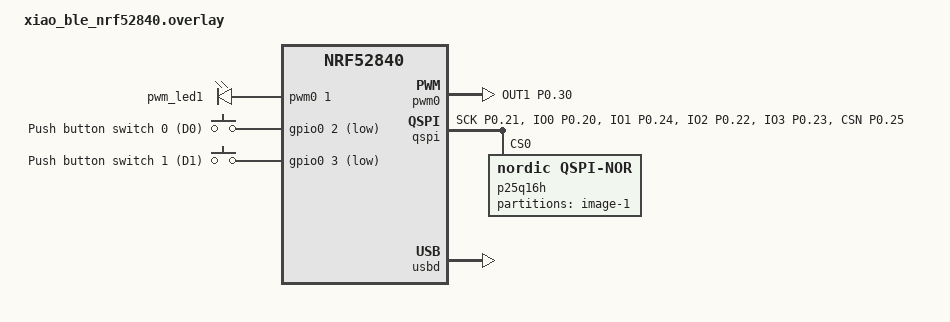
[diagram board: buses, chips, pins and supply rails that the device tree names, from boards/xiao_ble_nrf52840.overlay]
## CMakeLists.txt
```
#
# Copyright (c) 2021 Nordic Semiconductor ASA
#
# SPDX-License-Identifier: LicenseRef-Nordic-5-Clause
#

cmake_minimum_required(VERSION 3.20.0)

find_package(Zephyr HINTS $ENV{ZEPHYR_BASE})

project(seeed_matter_ota_demo)

# Enable GNU STD support.
include(${ZEPHYR_CONNECTEDHOMEIP_MODULE_DIR}/config/nrfconnect/app/enable-gnu-std.cmake)

# NORDIC SDK APP START

# Include all source files that are located in the Matter common directory.
include(${ZEPHYR_NRF_MODULE_DIR}/samples/matter/common/cmake/source_common.cmake)

# Include Data Model utils
include(${ZEPHYR_NRF_MODULE_DIR}/samples/matter/common/cmake/data_model.cmake)

include(${ZEPHYR_NRF_MODULE_DIR}/samples/matter/common/cmake/zap_helpers.cmake)
ncs_get_zap_parent_dir(ZAP_PARENT_DIR)

target_include_directories(app PRIVATE
  src
  ${ZAP_PARENT_DIR}
)



target_sources(app PRIVATE
  src/app_task.cpp
  src/main.cpp
  src/zcl_callbacks.cpp
  ${CHIP_ROOT}/src/app/persistence/DeferredAttributePersistenceProvider.cpp
)

# FIXED: Explicitly pass target and generated JSON configuration file paths
ncs_configure_data_model(TARGET matter-data-model CONFIG_FILE ${CMAKE_CURRENT_SOURCE_DIR}/zap-generated/apps-configuration.json)
target_link_libraries(app PRIVATE matter-data-model)

# NORDIC SDK APP END
```

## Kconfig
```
#
# Copyright (c) 2022 Nordic Semiconductor
#
# SPDX-License-Identifier: LicenseRef-Nordic-5-Clause
#
mainmenu "Matter nRF Connect Light Bulb Example Application"

# Sample configuration used for Thread networking
if OPENTHREAD

choice OPENTHREAD_NORDIC_LIBRARY_CONFIGURATION
	default OPENTHREAD_NORDIC_LIBRARY_FTD
endchoice

choice OPENTHREAD_DEVICE_TYPE
	default OPENTHREAD_FTD
endchoice

endif # OPENTHREAD

config CHIP_WIFI
	default y if BOARD_NRF7002DK_NRF5340_CPUAPP || SHIELD_NRF7002EB2
	select DEPRECATED if SOC_SERIES_NRF53

config NFC
	bool "NFC support"
	default n

config CHIP_NFC_COMMISSIONING
	bool "Matter NFC commissioning"
	default n

config MATTER_NFC_COMMISSIONING
	bool "Matter NFC commissioning (renamed)"
	default n

config NFC_T2T_LIB
	bool "NFC Type 2 Tag library"
	default n

config NFCT_PINS_AS_GPIOS
	bool "NFC pins as GPIOs"
	default n

config CHIP_NFC_ONBOARDING_PAYLOAD
	bool "Chip NFC onboarding payload"
	default n

config NFC_T2T_NRFXLIB
	bool "NFC T2T NRFXLIB"
	default n

config NFC_NDEF
	bool "NFC NDEF"
	default n

config NFC_NDEF_MSG
	bool "NFC NDEF MSG"
	default n

config NFC_NDEF_RECORD
	bool "NFC NDEF RECORD"
	default n

config NFC_NDEF_URI_MSG
	bool "NFC NDEF URI MSG"
	default n

config NFC_NDEF_URI_REC
	bool "NFC NDEF URI REC"
	default n

source "$(ZEPHYR_CONNECTEDHOMEIP_MODULE_DIR)/config/nrfconnect/chip-module/Kconfig.features"
source "$(ZEPHYR_CONNECTEDHOMEIP_MODULE_DIR)/config/nrfconnect/chip-module/Kconfig.defaults"
source "$(ZEPHYR_NRF_MODULE_DIR)/samples/matter/common/src/Kconfig"
source "Kconfig.zephyr"
```

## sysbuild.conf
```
#
# Copyright (c) 2024 Nordic Semiconductor
#
# SPDX-License-Identifier: LicenseRef-Nordic-5-Clause
#

SB_CONFIG_MATTER=y
SB_CONFIG_BOOTLOADER_MCUBOOT=y
SB_CONFIG_MATTER_FACTORY_DATA_GENERATE=n
```

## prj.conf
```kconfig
#
# Copyright (c) 2022 Nordic Semiconductor ASA
#
# SPDX-License-Identifier: LicenseRef-Nordic-5-Clause
#

# Enable CHIP
CONFIG_CHIP=y
CONFIG_CHIP_PROJECT_CONFIG="src/chip_project_config.h"
# 32773 == 0x8005 (example lighting-app)
CONFIG_CHIP_DEVICE_PRODUCT_ID=32773
CONFIG_STD_CPP17=y

# Enable Matter pairing automatically on application start.
CONFIG_CHIP_ENABLE_PAIRING_AUTOSTART=y

# Enable Matter extended announcement and increase duration to 1 hour.
CONFIG_CHIP_BLE_EXT_ADVERTISING=y
CONFIG_CHIP_BLE_ADVERTISING_DURATION=60

# Add support for LEDs and buttons on Nordic development kits
CONFIG_DK_LIBRARY=y
CONFIG_PWM=y

# Bluetooth Low Energy configuration
CONFIG_BT_DEVICE_NAME="MatterLight"

# Other settings
CONFIG_THREAD_NAME=y
CONFIG_MPU_STACK_GUARD=y
CONFIG_RESET_ON_FATAL_ERROR=n
CONFIG_CHIP_LIB_SHELL=y
CONFIG_NCS_SAMPLE_MATTER_TEST_SHELL=y

# Reduce application size
CONFIG_USE_SEGGER_RTT=n

# Enable Factory Data feature
CONFIG_CHIP_FACTORY_DATA=y
CONFIG_CHIP_FACTORY_DATA_BUILD=y

CONFIG_MULTITHREADING=y

CONFIG_LSM6DSL=n
CONFIG_SENSOR=n

# led strip
CONFIG_LED_STRIP=y
CONFIG_LED_STRIP_LOG_LEVEL_DBG=y

# Enable Bootloader and DFU (Device Firmware Update)
CONFIG_BOOTLOADER_MCUBOOT=y
CONFIG_MCUMGR=y

# Enable Matter OTA Requestor Cluster
CONFIG_CHIP_OTA_REQUESTOR=y
```

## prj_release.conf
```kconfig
#
# Copyright (c) 2022 Nordic Semiconductor ASA
#
# SPDX-License-Identifier: LicenseRef-Nordic-5-Clause
#

# Enable CHIP
CONFIG_CHIP=y
CONFIG_CHIP_PROJECT_CONFIG="src/chip_project_config.h"
# 32773 == 0x8005 (example lighting-app)
CONFIG_CHIP_DEVICE_PRODUCT_ID=32773
CONFIG_STD_CPP17=y

# Enable Matter pairing automatically on application start.
CONFIG_CHIP_ENABLE_PAIRING_AUTOSTART=y

# Enable Matter extended announcement and increase duration to 1 hour.
CONFIG_CHIP_BLE_EXT_ADVERTISING=y
CONFIG_CHIP_BLE_ADVERTISING_DURATION=60

# Add support for LEDs and buttons on Nordic development kits
CONFIG_DK_LIBRARY=y
CONFIG_PWM=y

# Bluetooth Low Energy configuration
CONFIG_BT_DEVICE_NAME="MatterLight"

# Enable system reset on fatal error
CONFIG_RESET_ON_FATAL_ERROR=y

# Disable all debug features
CONFIG_USE_SEGGER_RTT=n
CONFIG_SHELL=n
CONFIG_OPENTHREAD_SHELL=n
CONFIG_CONSOLE=n
CONFIG_UART_CONSOLE=n
CONFIG_SERIAL=n
CONFIG_LOG=n
CONFIG_LOG_MODE_MINIMAL=n
CONFIG_ASSERT_VERBOSE=n
CONFIG_ASSERT_NO_FILE_INFO=y
CONFIG_PRINTK=n
CONFIG_PRINTK_SYNC=n
CONFIG_THREAD_NAME=n
CONFIG_BOOT_BANNER=n

# Enable Factory Data feature
CONFIG_CHIP_FACTORY_DATA=y
CONFIG_CHIP_FACTORY_DATA_BUILD=y

# Enable Watchdog
CONFIG_NCS_SAMPLE_MATTER_WATCHDOG=y

# Enable Bootloader and DFU (Device Firmware Update)
CONFIG_BOOTLOADER_MCUBOOT=y
CONFIG_MCUMGR=y

# Enable Matter OTA Requestor Cluster
CONFIG_CHIP_OTA_REQUESTOR=y
```

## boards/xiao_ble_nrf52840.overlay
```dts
/*
 * Copyright (c) 2024
 *
 * SPDX-License-Identifier: LicenseRef-Nordic-5-Clause
 */

/ {
        chosen {
                nordic,pm-ext-flash = &p25q16h;
                /* Map the system code partition to slot0 for MCUboot */
                zephyr,code-partition = &slot0_partition;
        };

        aliases {
                pwm-led1 = &pwm_led1;
                sw0 = &button0;
                sw1 = &button1;
        };

        pwmleds {
                compatible = "pwm-leds";
                pwm_led1: pwm_led_1 {
                        pwms = <&pwm0 1 PWM_MSEC(20) PWM_POLARITY_INVERTED>;
                };
        };

        buttons {
                compatible = "gpio-keys";
                button0: button_0 {
                        gpios = <&gpio0 2 (GPIO_PULL_UP | GPIO_ACTIVE_LOW)>;
                        label = "Push button switch 0 (D0)";
                };
                button1: button_1 {
                        gpios = <&gpio0 3 (GPIO_PULL_UP | GPIO_ACTIVE_LOW)>;
                        label = "Push button switch 1 (D1)";
                };
        };
};

&flash0 {
        /delete-node/ partitions;
        partitions {
                compatible = "fixed-partitions";
                #address-cells = <1>;
                #size-cells = <1>;

                boot_partition: partition@0 {
                        label = "mcuboot";
                        reg = <0x00000000 0x0000c000>;
                };
                slot0_partition: partition@c000 {
                        label = "image-0";
                        reg = <0x0000c000 0x000e8000>;
                };
                storage_partition: partition@f4000 {
                        label = "storage";
                        reg = <0x000f4000 0x0000c000>;
                };
        };
};

&pwm0 {
        status = "okay";
        pinctrl-0 = <&pwm0_default_alt>;
        pinctrl-1 = <&pwm0_sleep_alt>;
        pinctrl-names = "default", "sleep";
};

&pinctrl {
        pwm0_default_alt: pwm0_default_alt {
                group1 {
                        psels = <NRF_PSEL(PWM_OUT1, 0, 30)>;
                        nordic,invert;
                };
        };

        pwm0_sleep_alt: pwm0_sleep_alt {
                group1 {
                        psels = <NRF_PSEL(PWM_OUT1, 0, 30)>;
                        low-power-enable;
                };
        };

        qspi_default: qspi_default {
                group1 {
                        psels = <NRF_PSEL(QSPI_SCK, 0, 21)>,
                                <NRF_PSEL(QSPI_IO0, 0, 20)>,
                                <NRF_PSEL(QSPI_IO1, 0, 24)>,
                                <NRF_PSEL(QSPI_IO2, 0, 22)>,
                                <NRF_PSEL(QSPI_IO3, 0, 23)>,
                                <NRF_PSEL(QSPI_CSN, 0, 25)>;
                };
        };

        qspi_sleep: qspi_sleep {
                group1 {
                        psels = <NRF_PSEL(QSPI_SCK, 0, 21)>,
                                <NRF_PSEL(QSPI_IO0, 0, 20)>,
                                <NRF_PSEL(QSPI_IO1, 0, 24)>,
                                <NRF_PSEL(QSPI_IO2, 0, 22)>,
                                <NRF_PSEL(QSPI_IO3, 0, 23)>,
                                <NRF_PSEL(QSPI_CSN, 0, 25)>;
                        low-power-enable;
                };
        };
};

&qspi {
        status = "okay";
        pinctrl-0 = <&qspi_default>;
        pinctrl-1 = <&qspi_sleep>;
        pinctrl-names = "default", "sleep";

        p25q16h: p25q16h@0 {
                compatible = "nordic,qspi-nor";
                reg = <0>;
                sck-frequency = <32000000>;
                jedec-id = [85 60 15];
                size = <2097152>; /* 2MB in bytes */
                has-dpd;
                t-enter-dpd = <3000>;
                t-exit-dpd = <8000>;
                quad-enable-requirements = "S2B1v1";

                partitions {
                        compatible = "fixed-partitions";
                        #address-cells = <1>;
                        #size-cells = <1>;

                        slot1_partition: partition@0 {
                                label = "image-1";
                                reg = <0x00000000 0x000e8000>;
                        };
                };
        };
};

/* Disable unused peripherals to reduce power consumption */
&adc {
        status = "disabled";
};

&uart1 {
        status = "disabled";
};

&i2c0 {
        status = "disabled";
};

&spi1 {
        status = "disabled";
};

&spi3 {
        status = "disabled";
};

&usbd {
        status = "okay"; /* Kept active for serial CDC logging */
};

&nfct {
        status = "disabled";
};
```

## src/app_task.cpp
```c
/*
 * Copyright (c) 2021 Nordic Semiconductor ASA
 *
 * SPDX-License-Identifier: LicenseRef-Nordic-5-Clause
 */

#include "app_task.h"



#include "app/matter_init.h"
#include "app/task_executor.h"

#if defined(CONFIG_PWM)
#include "pwm/pwm_device.h"
#endif

#include "clusters/identify.h"

#include <app-common/zap-generated/attributes/Accessors.h>
#include <app/persistence/AttributePersistenceProviderInstance.h>
#include <app/persistence/DefaultAttributePersistenceProvider.h>
#include <app/persistence/DeferredAttributePersistenceProvider.h>
#include <app/server/Server.h>
#include <setup_payload/OnboardingCodesUtil.h>

#include <zephyr/logging/log.h>

LOG_MODULE_DECLARE(app, CONFIG_CHIP_APP_LOG_LEVEL);

using namespace ::chip;
using namespace ::chip::app;
using namespace ::chip::DeviceLayer;

namespace
{
constexpr EndpointId kLightEndpointId = 1;
constexpr uint8_t kDefaultMinLevel = 0;
constexpr uint8_t kDefaultMaxLevel = 254;

Nrf::Matter::IdentifyCluster sIdentifyCluster(kLightEndpointId, true, []() {
	Nrf::PostTask([] { Nrf::GetBoard().GetLED(Nrf::DeviceLeds::LED2).Set(false); });
#if defined(CONFIG_PWM)
	Nrf::PostTask([] { AppTask::Instance().GetPWMDevice().ApplyLevel(); });
#endif
});

#if defined(CONFIG_PWM)
const struct pwm_dt_spec sLightPwmDevice = PWM_DT_SPEC_GET(DT_ALIAS(pwm_led1));
#endif

/* Define a custom attribute persister which makes actual write of the CurrentLevel attribute value
 * to the non-volatile storage only when it has remained constant for 5 seconds. This is to reduce
 * the flash wearout when the attribute changes frequently as a result of MoveToLevel command.
 * DeferredAttribute object describes a deferred attribute, but also holds a buffer with a value to
 * be written, so it must live so long as the DeferredAttributePersistenceProvider object.
 */
DeferredAttribute gCurrentLevelPersister(ConcreteAttributePath(kLightEndpointId, Clusters::LevelControl::Id,
							       Clusters::LevelControl::Attributes::CurrentLevel::Id));

/* Deferred persistence will be auto-initialized as soon as the default persistence is initialized */
DefaultAttributePersistenceProvider gSimpleAttributePersistence;
DeferredAttributePersistenceProvider gDeferredAttributePersister(gSimpleAttributePersistence,
								 Span<DeferredAttribute>(&gCurrentLevelPersister, 1),
								 System::Clock::Milliseconds32(5000));

#define APPLICATION_BUTTON_MASK DK_BTN2_MSK
} /* namespace */

void AppTask::LightingActionEventHandler(const LightingEvent &event)
{
#if defined(CONFIG_PWM)
	Nrf::PWMDevice::Action_t action = Nrf::PWMDevice::INVALID_ACTION;
	int32_t actor = 0;
	if (event.Actor == LightingActor::Button) {
		action = Instance().mPWMDevice.IsTurnedOn() ? Nrf::PWMDevice::OFF_ACTION : Nrf::PWMDevice::ON_ACTION;
		actor = static_cast<int32_t>(event.Actor);
	}

	if (action == Nrf::PWMDevice::INVALID_ACTION || !Instance().mPWMDevice.InitiateAction(action, actor, NULL)) {
		LOG_INF("An action could not be initiated.");
	}
#else
	Nrf::GetBoard().GetLED(Nrf::DeviceLeds::LED2).Set(!Nrf::GetBoard().GetLED(Nrf::DeviceLeds::LED2).GetState());
#endif
}

void AppTask::ButtonEventHandler(Nrf::ButtonState state, Nrf::ButtonMask hasChanged)
{
	if ((APPLICATION_BUTTON_MASK & hasChanged) & state) {
		Nrf::PostTask([] {
			LightingEvent event;
			event.Actor = LightingActor::Button;
			LightingActionEventHandler(event);
		});
	}
}



#if defined(CONFIG_PWM)
void AppTask::ActionInitiated(Nrf::PWMDevice::Action_t action, int32_t actor)
{
	if (action == Nrf::PWMDevice::ON_ACTION) {
		LOG_INF("Turn On Action has been initiated");
	} else if (action == Nrf::PWMDevice::OFF_ACTION) {
		LOG_INF("Turn Off Action has been initiated");
	} else if (action == Nrf::PWMDevice::LEVEL_ACTION) {
		LOG_INF("Level Action has been initiated");
	}
}

void AppTask::ActionCompleted(Nrf::PWMDevice::Action_t action, int32_t actor)
{
	if (action == Nrf::PWMDevice::ON_ACTION) {
		LOG_INF("Turn On Action has been completed");
	} else if (action == Nrf::PWMDevice::OFF_ACTION) {
		LOG_INF("Turn Off Action has been completed");
	} else if (action == Nrf::PWMDevice::LEVEL_ACTION) {
		LOG_INF("Level Action has been completed");
	}

	if (actor == static_cast<int32_t>(LightingActor::Button)) {
		Instance().UpdateClusterState();
	}
}
#endif /* CONFIG_PWM */

void AppTask::UpdateClusterState()
{
	SystemLayer().ScheduleLambda([this] {
#if defined(CONFIG_PWM)
		/* write the new on/off value */
		Protocols::InteractionModel::Status status =
			Clusters::OnOff::Attributes::OnOff::Set(kLightEndpointId, mPWMDevice.IsTurnedOn());
#else
		Protocols::InteractionModel::Status status = Clusters::OnOff::Attributes::OnOff::Set(
			kLightEndpointId, Nrf::GetBoard().GetLED(Nrf::DeviceLeds::LED2).GetState());
#endif
		if (status != Protocols::InteractionModel::Status::Success) {
			LOG_ERR("Updating on/off cluster failed: %x", to_underlying(status));
		}

#if defined(CONFIG_PWM)
		/* write the current level */
		status = Clusters::LevelControl::Attributes::CurrentLevel::Set(kLightEndpointId, mPWMDevice.GetLevel());
#else
		/* write the current level */
		if (Nrf::GetBoard().GetLED(Nrf::DeviceLeds::LED2).GetState()) {
			status = Clusters::LevelControl::Attributes::CurrentLevel::Set(kLightEndpointId, 100);
		} else {
			status = Clusters::LevelControl::Attributes::CurrentLevel::Set(kLightEndpointId, 0);
		}
#endif

		if (status != Protocols::InteractionModel::Status::Success) {
			LOG_ERR("Updating level cluster failed: %x", to_underlying(status));
		}
	});
}

void AppTask::InitPWMDDevice()
{
#if defined(CONFIG_PWM)
	/* Initialize lighting device (PWM) */
	uint8_t minLightLevel = kDefaultMinLevel;
	Clusters::LevelControl::Attributes::MinLevel::Get(kLightEndpointId, &minLightLevel);

	uint8_t maxLightLevel = kDefaultMaxLevel;
	Clusters::LevelControl::Attributes::MaxLevel::Get(kLightEndpointId, &maxLightLevel);

	Clusters::LevelControl::Attributes::CurrentLevel::TypeInfo::Type currentLevel;
	Clusters::LevelControl::Attributes::CurrentLevel::Get(kLightEndpointId, currentLevel);

	int ret =
		mPWMDevice.Init(&sLightPwmDevice, minLightLevel, maxLightLevel, currentLevel.ValueOr(kDefaultMaxLevel));
	if (ret != 0) {
		LOG_ERR("Failed to initialize PWD device.");
	}

	mPWMDevice.SetCallbacks(ActionInitiated, ActionCompleted);
#endif
}

CHIP_ERROR AppTask::Init()
{
	/* Initialize Matter stack */
	ReturnErrorOnFailure(Nrf::Matter::PrepareServer(Nrf::Matter::InitData{ .mPostServerInitClbk = []() {
		app::SetAttributePersistenceProvider(&gDeferredAttributePersister);
		gSimpleAttributePersistence.Init(Nrf::Matter::GetPersistentStorageDelegate());
		return CHIP_NO_ERROR;
	} }));

	if (!Nrf::GetBoard().Init(ButtonEventHandler)) {
		LOG_ERR("User interface initialization failed.");
		return CHIP_ERROR_INCORRECT_STATE;
	}

	/* Register Matter event handler that controls the connectivity status LED based on the captured Matter network
	 * state. */
	ReturnErrorOnFailure(Nrf::Matter::RegisterEventHandler(Nrf::Board::DefaultMatterEventHandler, 0));



	ReturnErrorOnFailure(sIdentifyCluster.Init());

	return Nrf::Matter::StartServer();
}

CHIP_ERROR AppTask::StartApp()
{
	ReturnErrorOnFailure(Init());

	while (true) {
		Nrf::DispatchNextTask();
	}

	return CHIP_NO_ERROR;
}
```

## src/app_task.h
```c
/*
 * Copyright (c) 2021 Nordic Semiconductor ASA
 *
 * SPDX-License-Identifier: LicenseRef-Nordic-5-Clause
 */

#pragma once

#include "board/board.h"
#include "pwm/pwm_device.h"

#include <platform/CHIPDeviceLayer.h>

struct k_timer;
struct Identify;

enum class LightingActor : uint8_t { Remote, Button };

struct LightingEvent {
	uint8_t Action;
	LightingActor Actor;
};

class AppTask {
public:
	static AppTask &Instance()
	{
		static AppTask sAppTask;
		return sAppTask;
	};

	CHIP_ERROR StartApp();

	void UpdateClusterState();
	void InitPWMDDevice();
	Nrf::PWMDevice &GetPWMDevice() { return mPWMDevice; }

private:
	CHIP_ERROR Init();

	static void LightingActionEventHandler(const LightingEvent &event);
	static void ButtonEventHandler(Nrf::ButtonState state, Nrf::ButtonMask hasChanged);

	static void ActionInitiated(Nrf::PWMDevice::Action_t action, int32_t actor);
	static void ActionCompleted(Nrf::PWMDevice::Action_t action, int32_t actor);



	Nrf::PWMDevice mPWMDevice;
};
```

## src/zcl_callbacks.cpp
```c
/*
 * Copyright (c) 2021 Nordic Semiconductor ASA
 *
 * SPDX-License-Identifier: LicenseRef-Nordic-5-Clause
 */

#include <lib/support/logging/CHIPLogging.h>

#include "app_task.h"



#include <app-common/zap-generated/attributes/Accessors.h>
#include <app-common/zap-generated/ids/Attributes.h>
#include <app-common/zap-generated/ids/Clusters.h>
#include <app/ConcreteAttributePath.h>

using namespace ::chip;
using namespace ::chip::app::Clusters;
using namespace ::chip::app::Clusters::OnOff;

void MatterPostAttributeChangeCallback(const chip::app::ConcreteAttributePath &attributePath, uint8_t type,
				       uint16_t size, uint8_t *value)
{
	ClusterId clusterId = attributePath.mClusterId;
	AttributeId attributeId = attributePath.mAttributeId;

	if (clusterId == OnOff::Id && attributeId == OnOff::Attributes::OnOff::Id) {
		ChipLogProgress(Zcl, "Cluster OnOff: attribute OnOff set to %" PRIu8 "", *value);

#if defined(CONFIG_PWM)
		AppTask::Instance().GetPWMDevice().InitiateAction(*value ? Nrf::PWMDevice::ON_ACTION :
									   Nrf::PWMDevice::OFF_ACTION,
								  static_cast<int32_t>(LightingActor::Remote), value);
#else
		Nrf::GetBoard().GetLED(Nrf::DeviceLeds::LED2).Set(*value);
#endif



	} else if (clusterId == LevelControl::Id && attributeId == LevelControl::Attributes::CurrentLevel::Id) {
		ChipLogProgress(Zcl, "Cluster LevelControl: attribute CurrentLevel set to %" PRIu8 "", *value);
#if defined(CONFIG_PWM)
		if (AppTask::Instance().GetPWMDevice().IsTurnedOn()) {
			AppTask::Instance().GetPWMDevice().InitiateAction(
				Nrf::PWMDevice::LEVEL_ACTION, static_cast<int32_t>(LightingActor::Remote), value);
		} else {
			ChipLogDetail(Zcl, "LED is off. Try to use move-to-level-with-on-off instead of move-to-level");
		}
#endif


	}
}

/** @brief OnOff Cluster Init
 *
 * This function is called when a specific cluster is initialized. It gives the
 * application an opportunity to take care of cluster initialization procedures.
 * It is called exactly once for each endpoint where cluster is present.
 *
 * @param endpoint   Ver.: always
 *
 * TODO Issue #3841
 * emberAfOnOffClusterInitCallback happens before the stack initialize the cluster
 * attributes to the default value.
 * The logic here expects something similar to the deprecated Plugins callback
 * emberAfPluginOnOffClusterServerPostInitCallback.
 *
 */
void emberAfOnOffClusterInitCallback(EndpointId endpoint)
{
	Protocols::InteractionModel::Status status;
	bool storedValue;

	/* Read storedValue on/off value */
	status = Attributes::OnOff::Get(endpoint, &storedValue);

	if (status == Protocols::InteractionModel::Status::Success) {
		/* Set actual state to the cluster state that was last persisted */
#if defined(CONFIG_PWM)
		AppTask::Instance().InitPWMDDevice();

		AppTask::Instance().GetPWMDevice().InitiateAction(
			storedValue ? Nrf::PWMDevice::ON_ACTION : Nrf::PWMDevice::OFF_ACTION,
			static_cast<int32_t>(LightingActor::Remote), reinterpret_cast<uint8_t *>(&storedValue));
#else
		Nrf::GetBoard().GetLED(Nrf::DeviceLeds::LED2).Set(storedValue);
#endif
	}

	AppTask::Instance().UpdateClusterState();
}
```
